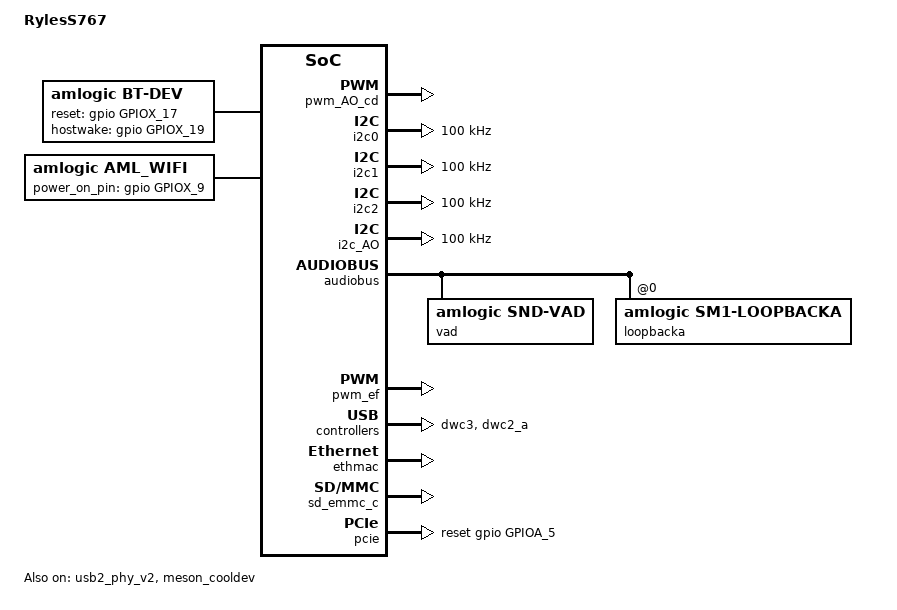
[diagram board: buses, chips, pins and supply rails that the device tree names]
/*
 * Copyright (c) 2022, Sonos, Inc.
 *
 * SPDX-License-Identifier:     GPL-2.0
 *
 */
/dts-v1/;

#include "sm1_s905d3_ac200.dts"

/ {
	model = "RylesS767";
	amlogic-dt-id = "sm1_ac200_2g";
	compatible = "amlogic, g12a";
	interrupt-parent = <&gic>;
	#address-cells = <2>;
	#size-cells = <2>;

        sonos-product-id = <0x07>;

	aliases {
		serial0 = &uart_AO;
		serial1 = &uart_A;
		serial2 = &uart_B;
		serial3 = &uart_C;
		serial4 = &uart_AO_B;
		tsensor0 = &p_tsensor;
		tsensor1 = &d_tsensor;
		i2c0 = &i2c0;
		i2c1 = &i2c1;
		i2c2 = &i2c2;
		i2c3 = &i2c3;
		i2c4 = &i2c_AO;
		spicc0 = &spicc0;
		spicc1 = &spicc1;
		//remote = &remote;
	};

	memory@00000000 {
		device_type = "memory";
		linux,usable-memory = <0x0 0x000000 0x0 0x40000000>;
	};

        reserved-memory {
                linux,cma {
                        compatible = "shared-dma-pool";
                        reusable;
                        size = <0x0 0x3000000>;
                        alignment = <0x0 0x400000>;
                        linux,cma-default;
                };
        };

	galcore {
		status = "okay";
	};

	cvbsout {
		compatible = "amlogic, cvbsout-sm1";
		dev_name = "cvbsout";
		status = "okay";
		clocks = <&clkc CLKID_VCLK2_ENCI
			&clkc CLKID_VCLK2_VENCI0
			&clkc CLKID_VCLK2_VENCI1
			&clkc CLKID_DAC_CLK>;
		clock-names = "venci_top_gate",
			"venci_0_gate",
			"venci_1_gate",
			"vdac_clk_gate";
		/* clk path */
		/* 0:vid_pll vid2_clk */
		/* 1:gp0_pll vid2_clk */
		/* 2:vid_pll vid1_clk */
		/* 3:gp0_pll vid1_clk */
		clk_path = <0>;

		/* performance: reg_address, reg_value */
		/* sm1 */
		performance = <0x1bf0  0x9
			0x1b56  0x333
			0x1b12  0x8080
			0x1b05  0xfd
			0x1c59  0xf850
			0xffff  0x0>; /* ending flag */
		performance_sarft = <0x1bf0  0x9
			0x1b56  0x333
			0x1b12  0x0
			0x1b05  0x9
			0x1c59  0xfc48
			0xffff  0x0>; /* ending flag */
		performance_revB_telecom = <0x1bf0  0x9
			0x1b56  0x546
			0x1b12  0x8080
			0x1b05  0x9
			0x1c59  0xf850
			0xffff  0x0>; /* ending flag */
	};

	bt-dev{
		compatible = "amlogic, bt-dev";
		dev_name = "bt-dev";
		status = "okay";
		gpio_reset = <&gpio       GPIOX_17       GPIO_ACTIVE_HIGH>;
		gpio_hostwake = <&gpio       GPIOX_19       GPIO_ACTIVE_HIGH>;
	};

	wifi{
		compatible = "amlogic, aml_wifi";
		dev_name = "aml_wifi";
		status = "okay";
		interrupt_pin = <&gpio       GPIOX_6       GPIO_ACTIVE_HIGH>;
		irq_trigger_type = "GPIO_IRQ_LOW";
		power_on_pin = <&gpio       GPIOX_9       GPIO_ACTIVE_HIGH>;
		dhd_static_buf;	//if use bcm wifi, config dhd_static_buf
		pinctrl-names = "default";
		pinctrl-0 = <&pwm_e_pins>;
		pwm_config = <&wifi_pwm_conf>;
	};

	wifi_pwm_conf:wifi_pwm_conf{
		pwm_channel1_conf {
			pwms = <&pwm_ef MESON_PWM_0 30541 0>;
			duty-cycle = <15270>;
			times = <10>;
		};
		pwm_channel2_conf {
			pwms = <&pwm_ef MESON_PWM_2 30500 0>;
			duty-cycle = <15250>;
			times = <12>;
		};
	};

	codec_mm {
		compatible = "amlogic, codec, mm";
		status = "disabled";
	};

	picdec_cma_reserved:linux,picdec {
		compatible = "shared-dma-pool";
		reusable;
		size = <0x0>;
		alignment = <0x0>;
		linux,contiguous-region;
	};

	picdec {
		compatible = "amlogic, picdec";
		memory-region = <&picdec_cma_reserved>;
		dev_name = "picdec";
		status = "okay";
	};

	ppmgr {
		compatible = "amlogic, ppmgr";
		status = "disabled";
	};

	deinterlace {
		compatible = "amlogic, deinterlace";
		status = "disabled";
	};
	ionvideo {
		compatible = "amlogic, ionvideo";
		dev_name = "ionvideo";
		status = "okay";
	};
	partitions: partitions{
		parts = <14>;
		part-0 = <&logo>;
		part-1 = <&recovery>;
		part-2 = <&misc>;
		part-3 = <&dto>;
		part-4 = <&cri_data>;
		part-5 = <&param>;
		part-6 = <&boot>;
		part-7 = <&rsv>;
		part-8 = <&tee>;
		part-9 = <&vendor>;
		part-10 = <&odm>;
		part-11 = <&system>;
		part-12 = <&cache>;
		part-13 = <&data>;

		logo:logo{
			pname = "logo";
			size = <0x0 0x800000>;
			mask = <1>;
		};
		recovery:recovery{
			pname = "recovery";
			size = <0x0 0x1800000>;
			mask = <1>;
		};
		misc:misc{
			pname = "misc";
			size = <0x0 0x800000>;
			mask = <1>;
		};
		dto:dto{
			pname = "dto";
			size = <0x0 0x800000>;
			mask = <1>;
		};
		cri_data:cri_data{
			pname = "cri_data";
			size = <0x0 0x800000>;
			mask = <2>;
		};
		rsv:rsv{
			pname = "rsv";
			size = <0x0 0x1000000>;
			mask = <1>;
		};
		param:param{
			pname = "param";
			size = <0x0 0x1000000>;
			mask = <2>;
		};
		boot:boot{
			pname = "boot";
			size = <0x0 0x1000000>;
			mask = <1>;
		};
		tee:tee{
			pname = "tee";
			size = <0x0 0x2000000>;
			mask = <1>;
		};
		vendor:vendor{
			pname = "vendor";
			size = <0x0 0x10000000>;
			mask = <1>;
		};
		odm:odm{
			pname = "odm";
			size = <0x0 0x10000000>;
			mask = <1>;
		};
		system:system{
			pname = "system";
			size = <0x0 0x80000000>;
			mask = <1>;
		};
		cache:cache{
			pname = "cache";
			size = <0x0 0x46000000>;
			mask = <2>;
		};
		data:data{
			pname = "data";
			size = <0xffffffff 0xffffffff>;
			mask = <4>;
		};
	};
	vm0 {
		compatible = "amlogic, vm";
		status = "disabled";
	};

        amvdec_656in {
                /*bt656 gpio conflict with i2c0*/
                compatible = "amlogic, bt656in-sm1";
                status = "disabled";
                reg = <0x0 0xffe02000 0x0 0x7c>;
                clocks = <&clkc CLKID_BT656_GATE>,
                        <&clkc CLKID_BT656>;
                clock-names = "cts_bt656_clk1",
                        "clk_gate_bt656";
                /* bt656in1, bt656in2 */
                bt656in1 {
                bt656_id = <1>;
                status = "disabled";
                };
	};

	unifykey{
		compatible = "amlogic, unifykey";
		status = "ok";
		unifykey-num = <17>;
		unifykey-index-0 = <&keysn_0>;
		unifykey-index-1 = <&keysn_1>;
		unifykey-index-2 = <&keysn_2>;
		unifykey-index-3 = <&keysn_3>;
		unifykey-index-4 = <&keysn_4>;
		unifykey-index-5 = <&keysn_5>;
		unifykey-index-6 = <&keysn_6>;
		unifykey-index-7 = <&keysn_7>;
		unifykey-index-8 = <&keysn_8>;
		unifykey-index-9 = <&keysn_9>;
		unifykey-index-10= <&keysn_10>;
		unifykey-index-11= <&keysn_11>;
		unifykey-index-12= <&keysn_12>;
		unifykey-index-13= <&keysn_13>;
		unifykey-index-14= <&keysn_14>;
		unifykey-index-15= <&keysn_15>;
		unifykey-index-16= <&keysn_16>;

		keysn_0: key_0{
			key-name = "usid";
			key-device = "normal";
			key-permit = "read","write","del";
		};
		keysn_1:key_1{
			key-name = "mac";
			key-device = "normal";
			key-permit = "read","write","del";
		};
		keysn_2:key_2{
			key-name = "hdcp";
			key-device = "secure";
			key-type = "sha1";
			key-permit = "read","write","del";
		};
		keysn_3:key_3{
			key-name = "secure_boot_set";
			key-device = "efuse";
			key-permit = "write";
		};
		keysn_4:key_4{
			key-name = "mac_bt";
			key-device = "normal";
			key-permit = "read","write","del";
			key-type  = "mac";
		};
		keysn_5:key_5{
			key-name = "mac_wifi";
			key-device = "normal";
			key-permit = "read","write","del";
			key-type = "mac";
		};
		keysn_6:key_6{
			key-name = "hdcp2_tx";
			key-device = "normal";
			key-permit = "read","write","del";
		};
		keysn_7:key_7{
			key-name = "hdcp2_rx";
			key-device = "normal";
			key-permit = "read","write","del";
		};
		keysn_8:key_8{
			key-name = "widevinekeybox";
			key-device = "secure";
			key-permit = "read","write","del";
		};
		keysn_9:key_9{
			key-name = "deviceid";
			key-device = "normal";
			key-permit = "read","write","del";
		};
		keysn_10:key_10{
			key-name = "hdcp22_fw_private";
			key-device = "secure";
			key-permit = "read","write","del";
		};
		keysn_11:key_11{
			key-name = "PlayReadykeybox25";
			key-device = "secure";
			key-permit = "read","write","del";
		};
		keysn_12:key_12{
			key-name = "prpubkeybox";// PlayReady
			key-device = "secure";
			key-permit = "read","write","del";
		};
		keysn_13:key_13{
			key-name = "prprivkeybox";// PlayReady
			key-device = "secure";
			key-permit = "read","write","del";
		};
		keysn_14:key_14{
			key-name = "attestationkeybox";// attestation key
			key-device = "secure";
			key-permit = "read","write","del";
		};
		keysn_15:key_15{
			key-name = "region_code";
			key-device = "normal";
			key-permit = "read","write","del";
		};
		keysn_16:key_16{
			key-name = "netflix_mgkid";
			key-device = "secure";
			key-permit = "read","write","del";
		};
	};//End unifykey


	amlvecm {
		compatible = "amlogic, vecm";
		dev_name = "aml_vecm";
		status = "okay";
		gamma_en = <0>;/*1:enabel ;0:disable*/
		wb_en = <0>;/*1:enabel ;0:disable*/
		cm_en = <0>;/*1:enabel ;0:disable*/
		/*0: 709/601  1: bt2020*/
		tx_op_color_primary = <0>;
	};

	amdolby_vision {
		compatible = "amlogic, dolby_vision_sm1";
		dev_name = "aml_amdolby_vision_driver";
		status = "okay";
		tv_mode = <0>;/*1:enabel ;0:disable*/
	};

	/* --------------- Audio Related start --------------- */
	tdm_codec:dummy {
		#sound-dai-cells = <0>;
		compatible = "amlogic,aml_dummy_codec";
		stream-name = "0-dac";
		rate = <44100>;    /* We use 44.1 KHz as the audio output rate */
		format = "S32_LE"; /* We use signed 24-bit little endian samples in a 32-bit word */
		channels = <24>;    /* Number of playback channels on Lasso is 15 (3 lanes of 3 amps x 2 ch each)
							  plus 2 unused channels on each lane. */
		status = "okay";
	};
	pdm_codec:dummy {
		#sound-dai-cells = <0>;
		compatible = "amlogic,pdm_dummy_codec";
		stream-name = "1-mic";
		rate = <48000>;    /* We use 48 KHz as the audio input rate. */
		format = "S32_LE"; /* We use signed 24-bit little endian samples in 32-bit words */
		channels = <6>;    /* Number of capture channels on Lasso is 6 */
		capture;           /* Set the stream direction to capture. Note: Default without this boolean flag 
							  is playback */
		status = "okay";
	};
	earc_codec:dummy{
		#sound-dai-cells = <0>;
		compatible = "amlogic, aml_dummy_codec";
		capture;
		status = "disabled";
	};

	audiolocker: locker {
		compatible = "amlogic, audiolocker";
		clocks = <&clkaudio CLKID_AUDIO_LOCKER_OUT
				&clkaudio CLKID_AUDIO_LOCKER_IN
				&clkaudio CLKID_AUDIO_MCLK_D
				&clkaudio CLKID_AUDIO_MCLK_E
				&clkc CLKID_MPLL1
				&clkc CLKID_MPLL2>;
		clock-names = "lock_out", "lock_in", "out_src",
					"in_src", "out_calc", "in_ref";
		interrupts = <GIC_SPI 1 IRQ_TYPE_EDGE_RISING>;
		interrupt-names = "irq";
		frequency = <49000000>; /* pll */
		dividor = <49>; /* locker's parent */
		status = "disabled";
	};

	tuner: tuner {
		compatible = "amlogic, tuner";
		status = "okay";
		tuner_name = "mxl661_tuner";
		tuner_i2c_adap = <&i2c1>;
		tuner_i2c_addr = <0x60>;
		tuner_xtal = <0>; /* 0: 16MHz, 1: 24MHz */
		tuner_xtal_mode = <0>;
					/* NO_SHARE_XTAL(0)
					 * SLAVE_XTAL_SHARE(1)
					 */
		tuner_xtal_cap = <30>; /* when tuner_xtal_mode = 1, set 25 */
	};

        efuse: efuse {
                compatible = "amlogic, efuse";
                read_cmd = <0x82000030>;
                write_cmd = <0x82000031>;
                get_max_cmd = <0x82000033>;
                read_obj_cmd = <0x82000038>;
                write_obj_cmd = <0x82000039>;
                mem_in_base_cmd = <0x82000020>;
                mem_out_base_cmd = <0x82000021>;
                key = <&efusekey>;
                clocks = <&clkc CLKID_EFUSE>;
                clock-names = "efuse_clk";
                status = "okay";
        };

	cpu_iomap {
		compatible = "amlogic, iomap";
		#address-cells=<2>;
		#size-cells=<2>;
		ranges;
		io_cbus_base {
			reg = <0x0 0xffd00000 0x0 0x26fff>;
		};
		io_apb_base {
			reg = <0x0 0xffe01000 0x0 0x7f000>;
		};
		io_aobus_base {
			reg = <0x0 0xff800000 0x0 0xb000>;
		};
		io_vapb_base {
			reg = <0x0 0xff900000 0x0 0x50000>;
		};
		io_hiu_base {
			reg = <0x0 0xff63c000 0x0 0x2000>;
		};
	};

	auge_sound {
		aml-audio-card,dai-link@1 {
			tdmbcodec: codec {
				sound-dai = <&dummy_codec>;
			};
		};
	};
};

&i2c3 {
	status = "disabled";
};

&pwm_AO_cd {
		status = "okay";
};

&i2c0 {
	status = "okay";
	pinctrl-0 = <&i2c0_sda_c_pins>, <&i2c0_sck_c_pins>;
	pinctrl-names = "default";
        clock-frequency = <100000>;
};

&i2c1 {
	status = "okay";
	pinctrl-0 = <&i2c1_sda_x_pins>, <&i2c1_sck_x_pins>;
	pinctrl-names = "default";
	clock-frequency = <100000>;
};

&i2c2 {
	status = "okay";
	pinctrl-names="default";
	pinctrl-0=<&i2c2_sda_x_pins>, <&i2c2_sck_x_pins>;
	clock-frequency = <100000>;
};

&i2c_AO {
	status = "okay";
	pinctrl-0 = <&i2c_ao_sda_pins>, <&i2c_ao_sck_pins>;
	pinctrl-names = "default";
	clock-frequency = <100000>;
};

&spicc0 {
	status = "disabled";
};

&spicc1 {
	status = "disabled";
};

&audiobus {

	tdmlb:tdm@3 {
		compatible = "amlogic, sm1-snd-tdmlb";
		#sound-dai-cells = <0>;

		dai-tdm-lane-lb-slot-mask-in = <1 0 0 0>;
		dai-tdm-clk-sel = <1>;

		clocks = <&clkaudio CLKID_AUDIO_MCLK_B
				&clkc CLKID_MPLL1>;
		clock-names = "mclk", "clk_srcpll";

		/*
		 * select tdmin_lb src;
		 * AXG
		 *  0: TDMOUTA
		 *  1: TDMOUTB
		 *  2: TDMOUTC
		 *  3: PAD_TDMINA
		 *  4: PAD_TDMINB
		 *  5: PAD_TDMINC
		 *
		 * G12A/G12B
		 *  0: TDMOUTA
		 *  1: TDMOUTB
		 *  2: TDMOUTC
		 *  3: PAD_TDMINA_DIN*
		 *  4: PAD_TDMINB_DIN*
		 *  5: PAD_TDMINC_DIN*
		 *  6: PAD_TDMINA_D*, oe pin
		 *  7: PAD_TDMINB_D*, oe pin
		 *
		 * TL1/SM1
		 *  0: TDMOUTA
		 *  1: TDMOUTB
		 *  2: TDMOUTC
		 *  3: PAD_TDMINA_DIN*
		 *  4: PAD_TDMINB_DIN*
		 *  5: PAD_TDMINC_DIN*
		 *  6: PAD_TDMINA_D*
		 *  7: PAD_TDMINB_D*
		 *  8: PAD_TDMINC_D*
		 *  9: HDMIRX_I2S
		 *  10: ACODEC_ADC
		 */
		lb-src-sel = <1>;

		status = "disabled";
	};

	asrca: resample@0 {
		compatible = "amlogic, sm1-resample";
		clocks = <&clkc CLKID_MPLL3
				&clkaudio CLKID_AUDIO_MCLK_F
				&clkaudio CLKID_AUDIO_RESAMPLE_A>;
		clock-names = "resample_pll", "resample_src", "resample_clk";
		/*same with toddr_src
		 *	TDMIN_A, 0
		 *	TDMIN_B, 1
		 *	TDMIN_C, 2
		 *	SPDIFIN, 3
		 *	PDMIN,  4
		 *	NONE,
		 *	TDMIN_LB, 6
		 *	LOOPBACK, 7
		 */
		resample_module = <4>;
		status = "disabled";
	};

	vad:vad {
		compatible = "amlogic, snd-vad";
		#sound-dai-cells = <0>;

		clocks = <&clkaudio CLKID_AUDIO_GATE_TOVAD
			&clkc CLKID_FCLK_DIV5
			&clkaudio CLKID_AUDIO_VAD>;
		clock-names = "gate", "pll", "clk";

		interrupts = <GIC_SPI 155 IRQ_TYPE_EDGE_RISING
				GIC_SPI 48 IRQ_TYPE_EDGE_RISING>;
		interrupt-names = "irq_wakeup", "irq_frame_sync";

		/*
		 * Data src sel:
		 * 0: tdmin_a;
		 * 1: tdmin_b;
		 * 2: tdmin_c;
		 * 3: spdifin;
		 * 4: pdmin;
		 * 5: loopback_b;
		 * 6: tdmin_lb;
		 * 7: loopback_a;
		 */
		src = <4>;

		/*
		 * deal with hot word in user space or kernel space
		 * 0: in user space
		 * 1: in kernel space
		 */
		level = <1>;

		status = "okay";
	};

	loopbacka:loopback@0 {
		compatible = "amlogic, sm1-loopbacka";
		#sound-dai-cells = <0>;

		clocks = <&clkaudio CLKID_AUDIO_GATE_PDM
			&clkc CLKID_FCLK_DIV3
			&clkc CLKID_MPLL3
			&clkaudio CLKID_AUDIO_PDMIN0
			&clkaudio CLKID_AUDIO_PDMIN1
			&clkc CLKID_MPLL0
			&clkaudio CLKID_AUDIO_MCLK_A>;
		clock-names = "pdm_gate",
			"pdm_sysclk_srcpll",
			"pdm_dclk_srcpll",
			"pdm_dclk",
			"pdm_sysclk",
			"tdminlb_mpll",
			"tdminlb_mclk";

		/* datain src
		 * 0: tdmin_a;
		 * 1: tdmin_b;
		 * 2: tdmin_c;
		 * 3: spdifin;
		 * 4: pdmin;
		 */
		datain_src = <4>;
		datain_chnum = <6>;
		datain_chmask = <0x3f>;
		/* config which data pin for loopback */
		datain-lane-mask-in = <1 1 1 0>;

		/* calc mclk for datalb */
		mclk-fs = <256>;

		/* tdmin_lb src
		 * 0: tdmoutA
		 * 1: tdmoutB
		 * 2: tdmoutC
		 * 3: PAD_TDMINA_DIN*, refer to core pinmux
		 * 4: PAD_TDMINB_DIN*, refer to core pinmux
		 * 5: PAD_TDMINC_DIN*, refer to core pinmux
		 * 6: PAD_TDMINA_D*, oe, refer to core pinmux
		 * 7: PAD_TDMINB_D*, oe, refer to core pinmux
		 */
		/* if tdmin_lb >= 3, use external loopback */
		datalb_src = <1>;
		datalb_chnum = <2>;
		datalb_chmask = <0x3>;
		/* config which data pin as loopback */
		datalb-lane-mask-in = <1 0 0 0>;

		status = "okay";
	};

	loopbackb:loopback@1 {
		compatible = "amlogic, sm1-loopbackb";
		#sound-dai-cells = <0>;

		clocks = <&clkaudio CLKID_AUDIO_GATE_PDM
			&clkc CLKID_FCLK_DIV3
			&clkc CLKID_MPLL3
			&clkaudio CLKID_AUDIO_PDMIN0
			&clkaudio CLKID_AUDIO_PDMIN1
			&clkc CLKID_MPLL0
			&clkaudio CLKID_AUDIO_MCLK_A>;
		clock-names = "pdm_gate",
			"pdm_sysclk_srcpll",
			"pdm_dclk_srcpll",
			"pdm_dclk",
			"pdm_sysclk",
			"tdminlb_mpll",
			"tdminlb_mclk";

		/* calc mclk for datain_lb */
		mclk-fs = <256>;

		/* datain src
		 * 0: tdmin_a;
		 * 1: tdmin_b;
		 * 2: tdmin_c;
		 * 3: spdifin;
		 * 4: pdmin;
		 */
		datain_src = <4>;
		datain_chnum = <4>;
		datain_chmask = <0xf>;
		/* config which data pin for loopback */
		datain-lane-mask-in = <1 0 1 0>;

		/* tdmin_lb src
		 * 0: tdmoutA
		 * 1: tdmoutB
		 * 2: tdmoutC
		 * 3: PAD_TDMINA_DIN*, refer to core pinmux
		 * 4: PAD_TDMINB_DIN*, refer to core pinmux
		 * 5: PAD_TDMINC_DIN*, refer to core pinmux
		 * 6: PAD_TDMINA_D*, oe, refer to core pinmux
		 * 7: PAD_TDMINB_D*, oe, refer to core pinmux
		 */
		/* if tdmin_lb >= 3, use external loopback */
		datalb_src = <1>;
		datalb_chnum = <2>;
		datalb_chmask = <0x3>;
		/* config which data pin as loopback */
		datalb-lane-mask-in = <1 0 0 0>;

		status = "disabled";
	};
	aed:effect {
		compatible = "amlogic, snd-effect-v3";
		#sound-dai-cells = <0>;
		clocks = <&clkaudio CLKID_AUDIO_GATE_EQDRC
			&clkc CLKID_FCLK_DIV5
			&clkaudio CLKID_AUDIO_EQDRC>;
		clock-names = "gate", "srcpll", "eqdrc";
		/*
		 * 0:tdmout_a
		 * 1:tdmout_b
		 * 2:tdmout_c
		 * 3:spdifout
		 * 4:spdifout_b
		 */
		eqdrc_module = <1>;
		/* max 0xf, each bit for one lane, usually one lane */
		lane_mask = <0x1>;
		/* max 0xff, each bit for one channel */
		channel_mask = <0x3>;
		status = "disabled";
	};
}; /* end of audiobus */


&earc {
	status = "disabled";
};

&apdm {
	pinctrl-names = "pdm_pins";
	pinctrl-0 = <&pdm_din0_c_pins
				&pdm_din1_c_pins
				&pdm_din2_c_pins
				&pdm_din3_c_pins
				&pdm_dclk_c_pins>;
};

/* Audio Related End */

&pwm_ef {
	status = "okay";
};

&dwc3 {
	status = "okay";
};

&usb2_phy_v2 {
	status = "okay";
	portnum = <2>;
};

&usb3_phy_v2 {
	status = "disabled";
	portnum = <1>;
	otg = <1>;
};

&dwc2_a {
	status = "okay";
	/** 0: normal, 1: otg+dwc3 host only, 2: otg+dwc3 device only*/
	controller-type = <3>;
};
&ethmac {
	status = "okay";
	//pinctrl-names = "internal_eth_pins";
	//pinctrl-0 = <&internal_eth_pins>;
	mc_val = <0x4be04>;
	internal_phy=<1>;
	mac_wol = <1>;
};

&uart_A {
	status = "disabled";
};

&meson_cooldev {
	status = "okay";
};

&sd_emmc_a {
        status = "disabled";
};

&sd_emmc_b {
        status = "disabled";
};

&sd_emmc_c {
        status = "okay";
        emmc {
                caps = "MMC_CAP_8_BIT_DATA",
                         "MMC_CAP_MMC_HIGHSPEED",
                         "MMC_CAP_SD_HIGHSPEED",
                         "MMC_CAP_NONREMOVABLE",
                        /* "MMC_CAP_1_8V_DDR", */
                         "MMC_CAP_HW_RESET",
                         "MMC_CAP_ERASE",
                         "MMC_CAP_CMD23",
                         "MMC_CAP_DRIVER_TYPE_D";
                caps2 = "MMC_CAP2_HS200", "MMC_CAP2_HS400";
                f_min = <400000>;
                f_max = <200000000>;
        };
};

&pcie {
        compatible = "amlogic, amlogic-pcie-v2";
        reset-gpio = <&gpio GPIOA_5 GPIO_ACTIVE_HIGH>;
        speed-mod = <1>;
        status = "okay";
};
